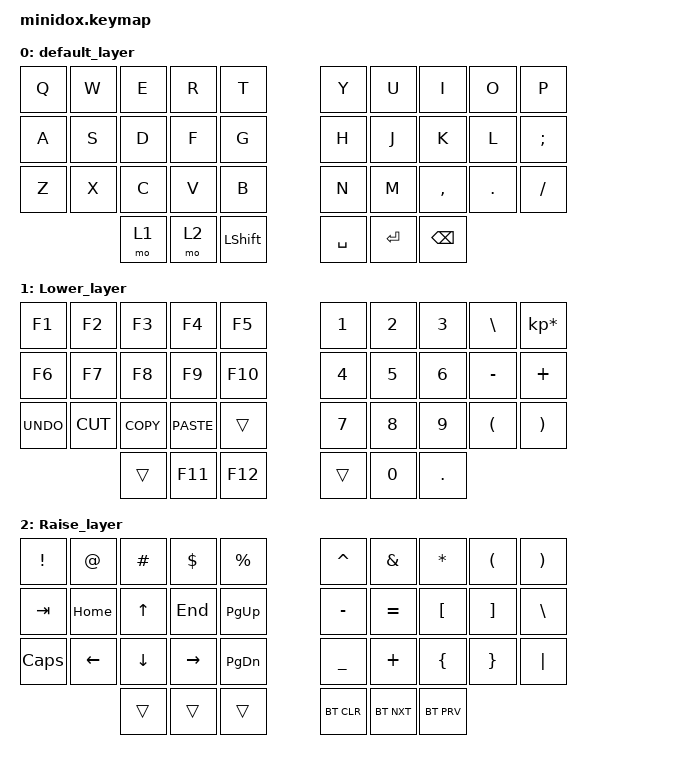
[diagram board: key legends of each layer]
#include <behaviors.dtsi>
#include <dt-bindings/zmk/keys.h>
#include <dt-bindings/zmk/bt.h>

/ {
   keymap {
          compatible = "zmk,keymap";
          default_layer {
          bindings = < 
 &kp Q      &kp W      &kp E      &kp R       &kp T        &kp Y       &kp U      &kp I      &kp O     &kp P
 &kp A      &kp S      &kp D      &kp F       &kp G        &kp H       &kp J      &kp K      &kp L     &kp SEMI
 &kp Z      &kp X      &kp C      &kp V       &kp B        &kp N       &kp M      &kp COMMA  &kp DOT   &kp FSLH
                       &mo 1      &mo 2       &kp LSHFT    &kp SPACE   &kp RET    &kp BSPC
                       >;
                         };   
          Lower_layer {
          bindings = <
 &kp F1     &kp F2     &kp F3     &kp F4      &kp F5       &kp N1      &kp N2     &kp N3     &kp BSLH  &kp KP_MULTIPLY  
 &kp F6     &kp F7     &kp F8     &kp F9      &kp F10      &kp N4      &kp N5     &kp N6     &kp MINUS &kp PLUS 
 &kp K_UNDO &kp K_CUT  &kp K_COPY &kp K_PASTE &trans       &kp N7      &kp N8     &kp N9     &kp LPAR  &kp RPAR 
                       &trans     &kp F11     &kp F12      &trans      &kp N0     &kp DOT 
                       >;
                         };
            Raise_layer {
            bindings = <
 &kp EXCL   &kp AT     &kp POUND  &kp DLLR    &kp PRCNT    &kp CARET   &kp AMPS   &kp ASTRK  &kp LPAR  &kp RPAR
 &kp TAB    &kp HOME   &kp UP     &kp END     &kp PG_UP    &kp MINUS   &kp EQUAL  &kp LBKT   &kp RBKT  &kp BSLH 
 &kp CAPS   &kp LEFT   &kp DOWN   &kp RIGHT   &kp PG_DN    &kp UNDER   &kp PLUS   &kp LBRC   &kp RBRC  &kp PIPE 
                       &trans     &trans      &trans       &bt BT_CLR  &bt BT_NXT &bt BT_PRV 
                       >;
                        };                
            };
  };
